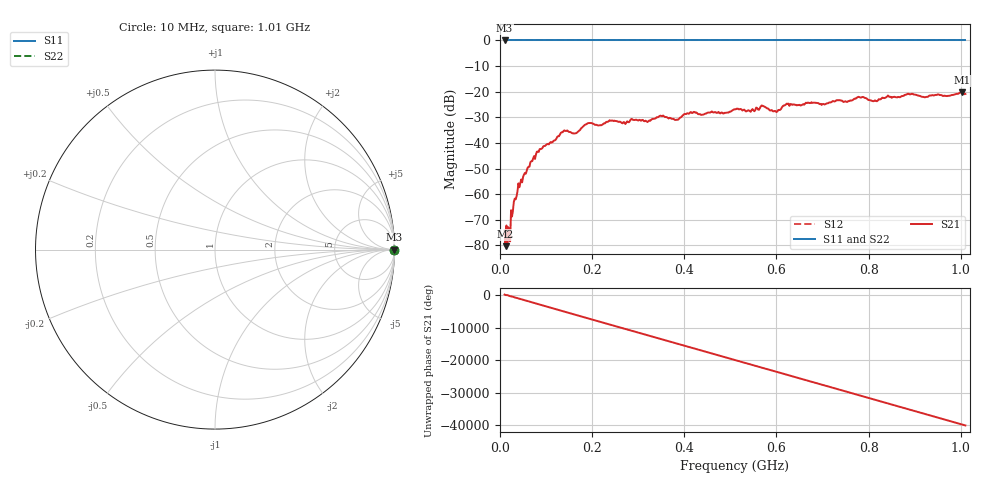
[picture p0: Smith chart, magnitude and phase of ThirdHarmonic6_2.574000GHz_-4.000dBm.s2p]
! 8/17/2025 5:24:19 AM
! C:\ANRITSUVNA\TEMP\TEMP.S2P
! CHANNEL.1
! TR.MEASUREMENT
! RAW.DATA
! RF.CORRECTION.OFF
! AVERAGING.OFF
! IF.BANDWIDTH: 5KHZ
! SWEEPTYPE:  FREQ.SWEEP(Linear)
! Reference Plane Port Info
! PORT:  PORT1  PORT2
! DISTANCE:  0  m  0  m
! TIME:  0  s  0  s
! PHASE.OFFSET:  0  deg.  0  deg.
! LOSS:  0  dB  0  dB
! REF.LOSS:  0  dB  0  dB
! REF.FREQ:  0  Hz  0  Hz
! Power Info
! POWER:  -20  dBm  -20  dBm
! EFF.POWER:  -20  dBm  -20  dBm
! SOURCE.ATTEN:  0  dB  0  dB
! TEST.ATTEN:  0  dB  0  dB
# GHZ S RI R 50.0
! FREQ.GHZ  S11RE  S11IM  S21RE  S21IM  S12RE  S12IM  S22RE  S22IM
!; PortSelection: Port_12
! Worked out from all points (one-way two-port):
!   501 points, 10 MHz to 1.01 GHz, reference 50 ohm
!   highest |S21| = -20.19 dB at 1.002 GHz (marker M1); lowest = -80.3 dB at 12 MHz (marker M2)
!   lowest |S11| = 0.0 dB at 10 MHz (marker M3)
!   |S11| at or under -10 dB: nowhere
!   |S22| runs from 0.0 to 0.0 dB; largest |S21 - S12| = 1.1
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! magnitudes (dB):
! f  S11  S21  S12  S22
! 10 MHz  0.0  -74.2  0.0  0.0
! 12 MHz  0.0  -80.3  0.0  0.0
! 20 MHz  0.0  -77.5  0.0  0.0
! 24 MHz  0.0  -66.3  0.0  0.0
! 28 MHz  0.0  -66.5  0.0  0.0
! 42 MHz  0.0  -57.3  0.0  0.0
! 82 MHz  0.0  -43.3  0.0  0.0
! 136 MHz  0.0  -35.8  0.0  0.0
! 162 MHz  0.0  -36.3  0.0  0.0
! 178 MHz  0.0  -34.0  0.0  0.0
! 194 MHz  0.0  -32.2  0.0  0.0
! 344 MHz  0.0  -29.9  0.0  0.0
! 384 MHz  0.0  -30.9  0.0  0.0
! 416 MHz  0.0  -28.3  0.0  0.0
! 510 MHz  0.0  -26.9  0.0  0.0
! 570 MHz  0.0  -25.5  0.0  0.0
! 598 MHz  0.0  -27.6  0.0  0.0
! 622 MHz  0.0  -24.7  0.0  0.0
! 678 MHz  0.0  -24.4  0.0  0.0
! 844 MHz  0.0  -21.9  0.0  0.0
! 1.002 GHz  0.0  -20.2  0.0  0.0
! 1.01 GHz  0.0  -20.9  0.0  0.0
